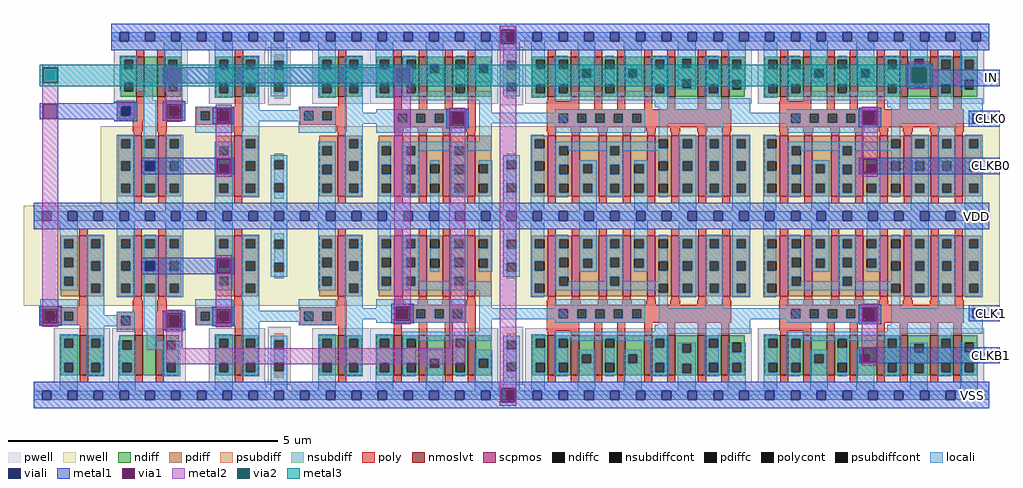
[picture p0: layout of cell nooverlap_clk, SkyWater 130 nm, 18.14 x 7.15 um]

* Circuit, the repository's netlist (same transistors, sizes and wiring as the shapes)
* NGSPICE file created from nooverlap_clk.ext - technology: sky130A

.subckt sky130_fd_sc_hs__nand2_1 A B VGND VNB VPB VPWR Y
X0 a_117_74# B VGND VNB sky130_fd_pr__nfet_01v8_lvt ad=0.0888 pd=0.98 as=0.2109 ps=2.05 w=0.74 l=0.15
X1 VPWR A Y VPB sky130_fd_pr__pfet_01v8 ad=0.3192 pd=2.81 as=0.168 ps=1.42 w=1.12 l=0.15
X2 Y A a_117_74# VNB sky130_fd_pr__nfet_01v8_lvt ad=0.2109 pd=2.05 as=0.0888 ps=0.98 w=0.74 l=0.15
X3 Y B VPWR VPB sky130_fd_pr__pfet_01v8 ad=0.168 pd=1.42 as=0.3192 ps=2.81 w=1.12 l=0.15
.ends

.subckt sky130_fd_sc_hs__inv_1 A VGND VNB VPB VPWR Y
X0 Y A VPWR VPB sky130_fd_pr__pfet_01v8 ad=0.3304 pd=2.83 as=0.3864 ps=2.93 w=1.12 l=0.15
X1 Y A VGND VNB sky130_fd_pr__nfet_01v8_lvt ad=0.2109 pd=2.05 as=0.2627 ps=2.19 w=0.74 l=0.15
.ends

.subckt sky130_fd_sc_hs__inv_4 A VGND VNB VPB VPWR Y
X0 Y A VPWR VPB sky130_fd_pr__pfet_01v8 ad=0.168 pd=1.42 as=0.3304 ps=2.83 w=1.12 l=0.15
X1 Y A VGND VNB sky130_fd_pr__nfet_01v8_lvt ad=0.1184 pd=1.06 as=0.2331 ps=2.11 w=0.74 l=0.15
X2 Y A VGND VNB sky130_fd_pr__nfet_01v8_lvt ad=0.1036 pd=1.02 as=0.1221 ps=1.07 w=0.74 l=0.15
X3 VPWR A Y VPB sky130_fd_pr__pfet_01v8 ad=0.3304 pd=2.83 as=0.168 ps=1.42 w=1.12 l=0.15
X4 VGND A Y VNB sky130_fd_pr__nfet_01v8_lvt ad=0.1221 pd=1.07 as=0.1184 ps=1.06 w=0.74 l=0.15
X5 Y A VPWR VPB sky130_fd_pr__pfet_01v8 ad=0.168 pd=1.42 as=0.168 ps=1.42 w=1.12 l=0.15
X6 VGND A Y VNB sky130_fd_pr__nfet_01v8_lvt ad=0.2109 pd=2.05 as=0.1036 ps=1.02 w=0.74 l=0.15
X7 VPWR A Y VPB sky130_fd_pr__pfet_01v8 ad=0.168 pd=1.42 as=0.168 ps=1.42 w=1.12 l=0.15
.ends

.subckt sky130_fd_sc_hs__inv_8 A VGND VNB VPB VPWR Y
X0 Y A VPWR VPB sky130_fd_pr__pfet_01v8 ad=0.168 pd=1.42 as=0.3304 ps=2.83 w=1.12 l=0.15
X1 VPWR A Y VPB sky130_fd_pr__pfet_01v8 ad=0.196 pd=1.47 as=0.168 ps=1.42 w=1.12 l=0.15
X2 Y A VGND VNB sky130_fd_pr__nfet_01v8_lvt ad=0.1036 pd=1.02 as=0.2109 ps=2.05 w=0.74 l=0.15
X3 Y A VPWR VPB sky130_fd_pr__pfet_01v8 ad=0.168 pd=1.42 as=0.168 ps=1.42 w=1.12 l=0.15
X4 Y A VGND VNB sky130_fd_pr__nfet_01v8_lvt ad=0.1036 pd=1.02 as=0.1295 ps=1.09 w=0.74 l=0.15
X5 VPWR A Y VPB sky130_fd_pr__pfet_01v8 ad=0.168 pd=1.42 as=0.168 ps=1.42 w=1.12 l=0.15
X6 Y A VPWR VPB sky130_fd_pr__pfet_01v8 ad=0.168 pd=1.42 as=0.196 ps=1.47 w=1.12 l=0.15
X7 VGND A Y VNB sky130_fd_pr__nfet_01v8_lvt ad=0.2146 pd=2.06 as=0.1036 ps=1.02 w=0.74 l=0.15
X8 VGND A Y VNB sky130_fd_pr__nfet_01v8_lvt ad=0.1295 pd=1.09 as=0.1036 ps=1.02 w=0.74 l=0.15
X9 VPWR A Y VPB sky130_fd_pr__pfet_01v8 ad=0.196 pd=1.47 as=0.168 ps=1.42 w=1.12 l=0.15
X10 VGND A Y VNB sky130_fd_pr__nfet_01v8_lvt ad=0.1036 pd=1.02 as=0.1036 ps=1.02 w=0.74 l=0.15
X11 Y A VGND VNB sky130_fd_pr__nfet_01v8_lvt ad=0.1036 pd=1.02 as=0.1554 ps=1.16 w=0.74 l=0.15
X12 Y A VGND VNB sky130_fd_pr__nfet_01v8_lvt ad=0.1036 pd=1.02 as=0.1036 ps=1.02 w=0.74 l=0.15
X13 VPWR A Y VPB sky130_fd_pr__pfet_01v8 ad=0.3864 pd=2.93 as=0.168 ps=1.42 w=1.12 l=0.15
X14 Y A VPWR VPB sky130_fd_pr__pfet_01v8 ad=0.168 pd=1.42 as=0.196 ps=1.47 w=1.12 l=0.15
X15 VGND A Y VNB sky130_fd_pr__nfet_01v8_lvt ad=0.1554 pd=1.16 as=0.1036 ps=1.02 w=0.74 l=0.15
.ends

.subckt nooverlap_clk IN CLK0 CLKB0 CLK1 CLKB1 VDD VSS
Xx1 x1/A x3/Y VSS VSS VDD VDD x4/A sky130_fd_sc_hs__nand2_1
Xx3 IN VSS VSS VDD VDD x3/Y sky130_fd_sc_hs__inv_1
Xx4 x4/A VSS VSS VDD VDD x6/A sky130_fd_sc_hs__inv_1
Xx6 x6/A VSS VSS VDD VDD x8/A sky130_fd_sc_hs__inv_1
Xx8 x8/A VSS VSS VDD VDD x8/Y sky130_fd_sc_hs__inv_4
Xsky130_fd_sc_hs__nand2_1_0 IN x8/A VSS VSS VDD VDD sky130_fd_sc_hs__inv_1_0/A sky130_fd_sc_hs__nand2_1
Xsky130_fd_sc_hs__inv_1_0 sky130_fd_sc_hs__inv_1_0/A VSS VSS VDD VDD sky130_fd_sc_hs__inv_1_1/A
+ sky130_fd_sc_hs__inv_1
Xsky130_fd_sc_hs__inv_1_1 sky130_fd_sc_hs__inv_1_1/A VSS VSS VDD VDD x1/A sky130_fd_sc_hs__inv_1
Xsky130_fd_sc_hs__inv_8_0 sky130_fd_sc_hs__inv_8_0/A VSS VSS VDD VDD CLKB0 sky130_fd_sc_hs__inv_8
Xsky130_fd_sc_hs__inv_8_1 CLKB0 VSS VSS VDD VDD CLK0 sky130_fd_sc_hs__inv_8
Xx10 x8/Y VSS VSS VDD VDD CLKB1 sky130_fd_sc_hs__inv_8
Xx12 CLKB1 VSS VSS VDD VDD CLK1 sky130_fd_sc_hs__inv_8
Xsky130_fd_sc_hs__inv_4_0 x1/A VSS VSS VDD VDD sky130_fd_sc_hs__inv_8_0/A sky130_fd_sc_hs__inv_4
.ends

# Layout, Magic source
magic
tech sky130A
magscale 1 2
<< locali >>
rect -351 -3654 -291 -3641
rect -351 -3688 -338 -3654
rect -304 -3688 -291 -3654
rect -351 -3701 -291 -3688
rect -171 -3653 -111 -3640
rect -171 -3687 -158 -3653
rect -124 -3687 -111 -3653
rect -171 -3700 -111 -3687
rect 23 -3670 63 -3667
rect 23 -3704 26 -3670
rect 60 -3704 63 -3670
rect 23 -3707 63 -3704
rect 151 -3707 379 -3667
rect 536 -3717 657 -3677
rect 882 -3681 942 -3668
rect 882 -3715 895 -3681
rect 929 -3715 942 -3681
rect 882 -3728 942 -3715
rect 1009 -3716 1326 -3676
rect 2415 -3677 2475 -3664
rect 1976 -3717 2190 -3677
rect 2415 -3711 2428 -3677
rect 2462 -3711 2475 -3677
rect 2415 -3724 2475 -3711
rect 2824 -3681 2864 -3678
rect 2824 -3715 2827 -3681
rect 2861 -3715 2864 -3681
rect 2824 -3718 2864 -3715
rect -251 -3857 -211 -3854
rect -251 -3891 -248 -3857
rect -214 -3891 -211 -3857
rect -251 -3894 -211 -3891
rect -251 -4229 -211 -4226
rect -251 -4263 -248 -4229
rect -214 -4263 -211 -4229
rect -251 -4266 -211 -4263
rect -631 -4415 -571 -4402
rect -631 -4449 -618 -4415
rect -584 -4449 -571 -4415
rect 13 -4416 73 -4403
rect -631 -4462 -571 -4449
rect -435 -4469 -301 -4429
rect -171 -4431 -111 -4418
rect -171 -4465 -158 -4431
rect -124 -4465 -111 -4431
rect 13 -4450 26 -4416
rect 60 -4450 73 -4416
rect 13 -4463 73 -4450
rect 126 -4453 379 -4413
rect 532 -4443 628 -4403
rect 678 -4406 738 -4393
rect 678 -4440 691 -4406
rect 725 -4440 738 -4406
rect 678 -4453 738 -4440
rect 1009 -4443 1326 -4403
rect 1972 -4443 2190 -4403
rect 2415 -4409 2475 -4396
rect 2415 -4443 2428 -4409
rect 2462 -4443 2475 -4409
rect 2824 -4405 2864 -4402
rect 2824 -4439 2827 -4405
rect 2861 -4439 2864 -4405
rect 2824 -4442 2864 -4439
rect 2415 -4456 2475 -4443
rect -171 -4478 -111 -4465
<< viali >>
rect -338 -3688 -304 -3654
rect -158 -3687 -124 -3653
rect 26 -3704 60 -3670
rect 895 -3715 929 -3681
rect 2428 -3711 2462 -3677
rect 2827 -3715 2861 -3681
rect -248 -3891 -214 -3857
rect -248 -4263 -214 -4229
rect -618 -4449 -584 -4415
rect -158 -4465 -124 -4431
rect 26 -4450 60 -4416
rect 691 -4440 725 -4406
rect 2428 -4443 2462 -4409
rect 2827 -4439 2861 -4405
<< metal1 >>
rect 1060 -3367 1140 -3363
rect 1060 -3419 1074 -3367
rect 1126 -3419 1140 -3367
rect 1060 -3423 1140 -3419
rect -181 -3511 748 -3507
rect -181 -3563 -167 -3511
rect -115 -3563 682 -3511
rect 734 -3563 748 -3511
rect -181 -3567 748 -3563
rect 2578 -3511 2678 -3497
rect 2578 -3563 2602 -3511
rect 2654 -3517 2678 -3511
rect 2654 -3563 2927 -3517
rect 2578 -3577 2927 -3563
rect -363 -3641 -279 -3635
rect -641 -3645 -279 -3641
rect -641 -3697 -627 -3645
rect -575 -3654 -279 -3645
rect -575 -3688 -338 -3654
rect -304 -3688 -279 -3654
rect -575 -3697 -279 -3688
rect -641 -3701 -279 -3697
rect -363 -3707 -279 -3701
rect -183 -3644 -99 -3634
rect -183 -3696 -167 -3644
rect -115 -3696 -99 -3644
rect -183 -3706 -99 -3696
rect 3 -3661 83 -3657
rect 3 -3713 17 -3661
rect 69 -3713 83 -3661
rect 3 -3717 83 -3713
rect 870 -3672 954 -3662
rect 870 -3724 886 -3672
rect 938 -3724 954 -3672
rect 870 -3734 954 -3724
rect 2403 -3668 2487 -3658
rect 2403 -3720 2419 -3668
rect 2471 -3720 2487 -3668
rect 2403 -3730 2487 -3720
rect 2812 -3681 2927 -3668
rect 2812 -3715 2827 -3681
rect 2861 -3715 2927 -3681
rect 2812 -3728 2927 -3715
rect -263 -3848 83 -3844
rect -263 -3857 17 -3848
rect -263 -3891 -248 -3857
rect -214 -3891 17 -3857
rect -263 -3900 17 -3891
rect 69 -3900 83 -3848
rect -263 -3904 83 -3900
rect 2405 -3848 2927 -3844
rect 2405 -3900 2419 -3848
rect 2471 -3900 2927 -3848
rect 2405 -3904 2927 -3900
rect 2791 -4100 2873 -4026
rect -263 -4220 83 -4216
rect -263 -4229 17 -4220
rect -263 -4263 -248 -4229
rect -214 -4263 17 -4229
rect -263 -4272 17 -4263
rect 69 -4272 83 -4220
rect -263 -4276 83 -4272
rect -643 -4406 -559 -4396
rect 666 -4397 750 -4387
rect -643 -4458 -627 -4406
rect -575 -4458 -559 -4406
rect 1 -4407 85 -4397
rect -643 -4468 -559 -4458
rect -183 -4422 -99 -4412
rect -183 -4474 -167 -4422
rect -115 -4474 -99 -4422
rect 1 -4459 17 -4407
rect 69 -4459 85 -4407
rect 666 -4449 682 -4397
rect 734 -4449 750 -4397
rect 666 -4459 750 -4449
rect 2403 -4400 2487 -4390
rect 2403 -4452 2419 -4400
rect 2471 -4452 2487 -4400
rect 2812 -4405 2927 -4392
rect 2812 -4439 2827 -4405
rect 2861 -4439 2927 -4405
rect 2812 -4452 2927 -4439
rect 1 -4469 85 -4459
rect 2403 -4462 2487 -4452
rect -183 -4484 -99 -4474
rect 2405 -4551 2927 -4547
rect 2405 -4603 2419 -4551
rect 2471 -4603 2927 -4551
rect 2405 -4607 2927 -4603
rect 1060 -4700 1140 -4696
rect 1060 -4752 1074 -4700
rect 1126 -4752 1140 -4700
rect 1060 -4756 1140 -4752
rect 2783 -4764 2865 -4690
<< via1 >>
rect 1074 -3419 1126 -3367
rect -167 -3563 -115 -3511
rect 682 -3563 734 -3511
rect 2602 -3563 2654 -3511
rect -627 -3697 -575 -3645
rect -167 -3653 -115 -3644
rect -167 -3687 -158 -3653
rect -158 -3687 -124 -3653
rect -124 -3687 -115 -3653
rect -167 -3696 -115 -3687
rect 17 -3670 69 -3661
rect 17 -3704 26 -3670
rect 26 -3704 60 -3670
rect 60 -3704 69 -3670
rect 17 -3713 69 -3704
rect 886 -3681 938 -3672
rect 886 -3715 895 -3681
rect 895 -3715 929 -3681
rect 929 -3715 938 -3681
rect 886 -3724 938 -3715
rect 2419 -3677 2471 -3668
rect 2419 -3711 2428 -3677
rect 2428 -3711 2462 -3677
rect 2462 -3711 2471 -3677
rect 2419 -3720 2471 -3711
rect 17 -3900 69 -3848
rect 2419 -3900 2471 -3848
rect 17 -4272 69 -4220
rect -627 -4415 -575 -4406
rect -627 -4449 -618 -4415
rect -618 -4449 -584 -4415
rect -584 -4449 -575 -4415
rect -627 -4458 -575 -4449
rect -167 -4431 -115 -4422
rect -167 -4465 -158 -4431
rect -158 -4465 -124 -4431
rect -124 -4465 -115 -4431
rect -167 -4474 -115 -4465
rect 17 -4416 69 -4407
rect 17 -4450 26 -4416
rect 26 -4450 60 -4416
rect 60 -4450 69 -4416
rect 17 -4459 69 -4450
rect 682 -4406 734 -4397
rect 682 -4440 691 -4406
rect 691 -4440 725 -4406
rect 725 -4440 734 -4406
rect 682 -4449 734 -4440
rect 2419 -4409 2471 -4400
rect 2419 -4443 2428 -4409
rect 2428 -4443 2462 -4409
rect 2462 -4443 2471 -4409
rect 2419 -4452 2471 -4443
rect 2419 -4603 2471 -4551
rect 1074 -4752 1126 -4700
<< metal2 >>
rect 1070 -3367 1130 -3353
rect 1070 -3419 1074 -3367
rect 1126 -3419 1130 -3367
rect -631 -3509 -571 -3497
rect -631 -3565 -629 -3509
rect -573 -3565 -571 -3509
rect -631 -3645 -571 -3565
rect -631 -3697 -627 -3645
rect -575 -3697 -571 -3645
rect -631 -4406 -571 -3697
rect -171 -3511 -111 -3497
rect -171 -3563 -167 -3511
rect -115 -3563 -111 -3511
rect -171 -3644 -111 -3563
rect -171 -3696 -167 -3644
rect -115 -3696 -111 -3644
rect 678 -3511 738 -3497
rect 678 -3563 682 -3511
rect 734 -3563 738 -3511
rect -171 -3710 -111 -3696
rect 13 -3661 73 -3647
rect 13 -3713 17 -3661
rect 69 -3713 73 -3661
rect 13 -3848 73 -3713
rect 13 -3900 17 -3848
rect 69 -3900 73 -3848
rect 13 -3914 73 -3900
rect -631 -4458 -627 -4406
rect -575 -4458 -571 -4406
rect 13 -4220 73 -4206
rect 13 -4272 17 -4220
rect 69 -4272 73 -4220
rect 13 -4407 73 -4272
rect -631 -4472 -571 -4458
rect -171 -4422 -111 -4408
rect -171 -4474 -167 -4422
rect -115 -4474 -111 -4422
rect 13 -4459 17 -4407
rect 69 -4459 73 -4407
rect 13 -4473 73 -4459
rect 678 -4397 738 -3563
rect 678 -4449 682 -4397
rect 734 -4449 738 -4397
rect 678 -4463 738 -4449
rect 882 -3672 942 -3658
rect 882 -3724 886 -3672
rect 938 -3724 942 -3672
rect -171 -4551 -111 -4474
rect 882 -4551 942 -3724
rect -171 -4611 942 -4551
rect 1070 -4700 1130 -3419
rect 2588 -3509 2668 -3487
rect 2588 -3565 2600 -3509
rect 2656 -3565 2668 -3509
rect 2588 -3587 2668 -3565
rect 2415 -3668 2475 -3654
rect 2415 -3720 2419 -3668
rect 2471 -3720 2475 -3668
rect 2415 -3848 2475 -3720
rect 2415 -3900 2419 -3848
rect 2471 -3900 2475 -3848
rect 2415 -3914 2475 -3900
rect 2415 -4400 2475 -4386
rect 2415 -4452 2419 -4400
rect 2471 -4452 2475 -4400
rect 2415 -4551 2475 -4452
rect 2415 -4603 2419 -4551
rect 2471 -4603 2475 -4551
rect 2415 -4617 2475 -4603
rect 1070 -4752 1074 -4700
rect 1126 -4752 1130 -4700
rect 1070 -4766 1130 -4752
<< via2 >>
rect -629 -3565 -573 -3509
rect 2600 -3511 2656 -3509
rect 2600 -3563 2602 -3511
rect 2602 -3563 2654 -3511
rect 2654 -3563 2656 -3511
rect 2600 -3565 2656 -3563
<< metal3 >>
rect 2578 -3497 2678 -3492
rect -641 -3509 2678 -3497
rect -641 -3565 -629 -3509
rect -573 -3565 2600 -3509
rect 2656 -3565 2678 -3509
rect -641 -3577 2678 -3565
rect 2578 -3582 2678 -3577
use sky130_fd_sc_hs__inv_1  sky130_fd_sc_hs__inv_1_0
transform 1 0 -87 0 -1 -3394
box -38 -49 326 715
use sky130_fd_sc_hs__inv_1  sky130_fd_sc_hs__inv_1_1
transform 1 0 297 0 -1 -3394
box -38 -49 326 715
use sky130_fd_sc_hs__inv_4  sky130_fd_sc_hs__inv_4_0
transform 1 0 585 0 -1 -3394
box -38 -49 518 715
use sky130_fd_sc_hs__inv_8  sky130_fd_sc_hs__inv_8_0
transform 1 0 1161 0 -1 -3394
box -38 -49 902 715
use sky130_fd_sc_hs__inv_8  sky130_fd_sc_hs__inv_8_1
transform 1 0 2025 0 -1 -3394
box -38 -49 902 715
use sky130_fd_sc_hs__nand2_1  sky130_fd_sc_hs__nand2_1_0
transform -1 0 -87 0 -1 -3394
box -38 -49 326 715
use sky130_fd_sc_hs__tapvpwrvgnd_1  sky130_fd_sc_hs__tapvpwrvgnd_1_0
transform 1 0 201 0 1 -4726
box -38 -49 134 715
use sky130_fd_sc_hs__tapvpwrvgnd_1  sky130_fd_sc_hs__tapvpwrvgnd_1_1
transform 1 0 1065 0 1 -4726
box -38 -49 134 715
use sky130_fd_sc_hs__tapvpwrvgnd_1  sky130_fd_sc_hs__tapvpwrvgnd_1_2
transform 1 0 201 0 -1 -3394
box -38 -49 134 715
use sky130_fd_sc_hs__tapvpwrvgnd_1  sky130_fd_sc_hs__tapvpwrvgnd_1_3
transform 1 0 1065 0 -1 -3394
box -38 -49 134 715
use sky130_fd_sc_hs__nand2_1  x1
transform 1 0 -375 0 1 -4726
box -38 -49 326 715
use sky130_fd_sc_hs__inv_1  x3
transform 1 0 -663 0 1 -4726
box -38 -49 326 715
use sky130_fd_sc_hs__inv_1  x4
transform 1 0 -87 0 1 -4726
box -38 -49 326 715
use sky130_fd_sc_hs__inv_1  x6
transform 1 0 297 0 1 -4726
box -38 -49 326 715
use sky130_fd_sc_hs__inv_4  x8
transform 1 0 585 0 1 -4726
box -38 -49 518 715
use sky130_fd_sc_hs__inv_8  x10
transform 1 0 1161 0 1 -4726
box -38 -49 902 715
use sky130_fd_sc_hs__inv_8  x12
transform 1 0 2025 0 1 -4726
box -38 -49 902 715
<< labels >>
flabel metal1 s 2878 -3567 2918 -3527 0 FreeSans 500 0 0 0 IN
port 1 nsew
flabel metal1 s 2878 -3717 2918 -3677 0 FreeSans 500 0 0 0 CLK0
port 2 nsew
flabel metal1 s 2876 -3894 2916 -3854 0 FreeSans 500 0 0 0 CLKB0
port 3 nsew
flabel metal1 s 2876 -4443 2916 -4403 0 FreeSans 500 0 0 0 CLK1
port 4 nsew
flabel metal1 s 2877 -4597 2917 -4557 0 FreeSans 500 0 0 0 CLKB1
port 5 nsew
flabel metal1 s 2820 -4082 2860 -4042 0 FreeSans 500 0 0 0 VDD
port 6 nsew
flabel metal1 s 2807 -4748 2847 -4708 0 FreeSans 500 0 0 0 VSS
port 7 nsew
<< end >>

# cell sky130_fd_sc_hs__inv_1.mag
magic
tech sky130A
magscale 1 2
<< nwell >>
rect -38 332 326 704
<< pwell >>
rect 75 49 285 248
rect 0 0 288 49
<< scpmos >>
rect 170 368 200 592
<< nmoslvt >>
rect 172 74 202 222
<< ndiff >>
rect 101 210 172 222
rect 101 176 113 210
rect 147 176 172 210
rect 101 120 172 176
rect 101 86 113 120
rect 147 86 172 120
rect 101 74 172 86
rect 202 210 259 222
rect 202 176 213 210
rect 247 176 259 210
rect 202 120 259 176
rect 202 86 213 120
rect 247 86 259 120
rect 202 74 259 86
<< pdiff >>
rect 101 580 170 592
rect 101 546 113 580
rect 147 546 170 580
rect 101 510 170 546
rect 101 476 113 510
rect 147 476 170 510
rect 101 440 170 476
rect 101 406 113 440
rect 147 406 170 440
rect 101 368 170 406
rect 200 580 259 592
rect 200 546 213 580
rect 247 546 259 580
rect 200 497 259 546
rect 200 463 213 497
rect 247 463 259 497
rect 200 414 259 463
rect 200 380 213 414
rect 247 380 259 414
rect 200 368 259 380
<< ndiffc >>
rect 113 176 147 210
rect 113 86 147 120
rect 213 176 247 210
rect 213 86 247 120
<< pdiffc >>
rect 113 546 147 580
rect 113 476 147 510
rect 113 406 147 440
rect 213 546 247 580
rect 213 463 247 497
rect 213 380 247 414
<< poly >>
rect 170 592 200 618
rect 170 353 200 368
rect 167 326 203 353
rect 29 310 203 326
rect 29 276 45 310
rect 79 276 113 310
rect 147 276 203 310
rect 29 260 203 276
rect 172 222 202 260
rect 172 48 202 74
<< polycont >>
rect 45 276 79 310
rect 113 276 147 310
<< locali >>
rect 0 649 31 683
rect 65 649 127 683
rect 161 649 223 683
rect 257 649 288 683
rect 97 580 163 649
rect 97 546 113 580
rect 147 546 163 580
rect 97 510 163 546
rect 97 476 113 510
rect 147 476 163 510
rect 97 440 163 476
rect 97 406 113 440
rect 147 406 163 440
rect 97 390 163 406
rect 197 580 263 596
rect 197 546 213 580
rect 247 546 263 580
rect 197 497 263 546
rect 197 463 213 497
rect 247 463 263 497
rect 197 414 263 463
rect 197 380 213 414
rect 247 380 263 414
rect 25 310 163 356
rect 25 276 45 310
rect 79 276 113 310
rect 147 276 163 310
rect 25 260 163 276
rect 97 210 163 226
rect 97 176 113 210
rect 147 176 163 210
rect 97 120 163 176
rect 97 86 113 120
rect 147 86 163 120
rect 97 17 163 86
rect 197 210 263 380
rect 197 176 213 210
rect 247 176 263 210
rect 197 120 263 176
rect 197 86 213 120
rect 247 86 263 120
rect 197 70 263 86
rect 0 -17 31 17
rect 65 -17 127 17
rect 161 -17 223 17
rect 257 -17 288 17
<< viali >>
rect 31 649 65 683
rect 127 649 161 683
rect 223 649 257 683
rect 31 -17 65 17
rect 127 -17 161 17
rect 223 -17 257 17
<< metal1 >>
rect 0 683 288 715
rect 0 649 31 683
rect 65 649 127 683
rect 161 649 223 683
rect 257 649 288 683
rect 0 617 288 649
rect 0 17 288 49
rect 0 -17 31 17
rect 65 -17 127 17
rect 161 -17 223 17
rect 257 -17 288 17
rect 0 -49 288 -17
<< labels >>
rlabel comment s 0 0 0 0 4 inv_1
flabel pwell s 0 0 288 49 0 FreeSans 200 0 0 0 VNB
port 1 nsew
flabel nwell s 0 617 288 666 0 FreeSans 200 0 0 0 VPB
port 2 nsew
flabel metal1 s 0 617 288 666 0 FreeSans 340 0 0 0 VPWR
port 3 nsew
flabel metal1 s 0 0 288 49 0 FreeSans 340 0 0 0 VGND
port 4 nsew
flabel locali s 223 94 257 128 0 FreeSans 340 0 0 0 Y
port 6 nsew
flabel locali s 223 168 257 202 0 FreeSans 340 0 0 0 Y
port 6 nsew
flabel locali s 223 242 257 276 0 FreeSans 340 0 0 0 Y
port 6 nsew
flabel locali s 223 316 257 350 0 FreeSans 340 0 0 0 Y
port 6 nsew
flabel locali s 223 390 257 424 0 FreeSans 340 0 0 0 Y
port 6 nsew
flabel locali s 223 464 257 498 0 FreeSans 340 0 0 0 Y
port 6 nsew
flabel locali s 223 538 257 572 0 FreeSans 340 0 0 0 Y
port 6 nsew
flabel locali s 31 316 65 350 0 FreeSans 340 0 0 0 A
port 7 nsew
<< properties >>
string FIXED_BBOX 0 0 288 666
<< end >>

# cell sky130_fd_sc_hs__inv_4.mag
magic
tech sky130A
magscale 1 2
<< nwell >>
rect -38 332 518 704
<< pwell >>
rect 1 49 479 248
rect 0 0 480 49
<< scpmos >>
rect 93 368 123 592
rect 183 368 213 592
rect 273 368 303 592
rect 363 368 393 592
<< nmoslvt >>
rect 90 74 120 222
rect 184 74 214 222
rect 280 74 310 222
rect 366 74 396 222
<< ndiff >>
rect 27 210 90 222
rect 27 176 39 210
rect 73 176 90 210
rect 27 120 90 176
rect 27 86 39 120
rect 73 86 90 120
rect 27 74 90 86
rect 120 210 184 222
rect 120 176 139 210
rect 173 176 184 210
rect 120 120 184 176
rect 120 86 139 120
rect 173 86 184 120
rect 120 74 184 86
rect 214 136 280 222
rect 214 102 225 136
rect 259 102 280 136
rect 214 74 280 102
rect 310 210 366 222
rect 310 176 321 210
rect 355 176 366 210
rect 310 120 366 176
rect 310 86 321 120
rect 355 86 366 120
rect 310 74 366 86
rect 396 136 453 222
rect 396 102 407 136
rect 441 102 453 136
rect 396 74 453 102
<< pdiff >>
rect 34 580 93 592
rect 34 546 46 580
rect 80 546 93 580
rect 34 510 93 546
rect 34 476 46 510
rect 80 476 93 510
rect 34 440 93 476
rect 34 406 46 440
rect 80 406 93 440
rect 34 368 93 406
rect 123 580 183 592
rect 123 546 136 580
rect 170 546 183 580
rect 123 510 183 546
rect 123 476 136 510
rect 170 476 183 510
rect 123 440 183 476
rect 123 406 136 440
rect 170 406 183 440
rect 123 368 183 406
rect 213 580 273 592
rect 213 546 226 580
rect 260 546 273 580
rect 213 508 273 546
rect 213 474 226 508
rect 260 474 273 508
rect 213 368 273 474
rect 303 580 363 592
rect 303 546 316 580
rect 350 546 363 580
rect 303 510 363 546
rect 303 476 316 510
rect 350 476 363 510
rect 303 440 363 476
rect 303 406 316 440
rect 350 406 363 440
rect 303 368 363 406
rect 393 580 452 592
rect 393 546 406 580
rect 440 546 452 580
rect 393 508 452 546
rect 393 474 406 508
rect 440 474 452 508
rect 393 368 452 474
<< ndiffc >>
rect 39 176 73 210
rect 39 86 73 120
rect 139 176 173 210
rect 139 86 173 120
rect 225 102 259 136
rect 321 176 355 210
rect 321 86 355 120
rect 407 102 441 136
<< pdiffc >>
rect 46 546 80 580
rect 46 476 80 510
rect 46 406 80 440
rect 136 546 170 580
rect 136 476 170 510
rect 136 406 170 440
rect 226 546 260 580
rect 226 474 260 508
rect 316 546 350 580
rect 316 476 350 510
rect 316 406 350 440
rect 406 546 440 580
rect 406 474 440 508
<< poly >>
rect 93 592 123 618
rect 183 592 213 618
rect 273 592 303 618
rect 363 592 393 618
rect 93 353 123 368
rect 183 353 213 368
rect 273 353 303 368
rect 363 353 393 368
rect 90 336 126 353
rect 180 336 216 353
rect 270 336 306 353
rect 360 336 396 353
rect 90 320 396 336
rect 90 286 106 320
rect 140 286 174 320
rect 208 286 242 320
rect 276 286 310 320
rect 344 286 396 320
rect 90 270 396 286
rect 90 222 120 270
rect 184 222 214 270
rect 280 222 310 270
rect 366 222 396 270
rect 90 48 120 74
rect 184 48 214 74
rect 280 48 310 74
rect 366 48 396 74
<< polycont >>
rect 106 286 140 320
rect 174 286 208 320
rect 242 286 276 320
rect 310 286 344 320
<< locali >>
rect 0 649 31 683
rect 65 649 127 683
rect 161 649 223 683
rect 257 649 319 683
rect 353 649 415 683
rect 449 649 480 683
rect 30 580 80 649
rect 30 546 46 580
rect 30 510 80 546
rect 30 476 46 510
rect 30 440 80 476
rect 30 406 46 440
rect 30 390 80 406
rect 120 580 186 596
rect 120 546 136 580
rect 170 546 186 580
rect 120 510 186 546
rect 120 476 136 510
rect 170 476 186 510
rect 120 440 186 476
rect 226 580 260 649
rect 226 508 260 546
rect 226 458 260 474
rect 300 580 366 596
rect 300 546 316 580
rect 350 546 366 580
rect 300 510 366 546
rect 300 476 316 510
rect 350 476 366 510
rect 120 406 136 440
rect 170 424 186 440
rect 300 440 366 476
rect 406 580 456 649
rect 440 546 456 580
rect 406 508 456 546
rect 440 474 456 508
rect 406 458 456 474
rect 300 424 316 440
rect 170 406 316 424
rect 350 424 366 440
rect 350 406 455 424
rect 120 390 455 406
rect 25 320 360 356
rect 25 286 106 320
rect 140 286 174 320
rect 208 286 242 320
rect 276 286 310 320
rect 344 286 360 320
rect 25 270 360 286
rect 409 236 455 390
rect 23 210 89 226
rect 23 176 39 210
rect 73 176 89 210
rect 23 120 89 176
rect 23 86 39 120
rect 73 86 89 120
rect 23 17 89 86
rect 123 210 455 236
rect 123 176 139 210
rect 173 202 321 210
rect 123 120 173 176
rect 355 202 455 210
rect 123 86 139 120
rect 123 70 173 86
rect 209 136 275 168
rect 209 102 225 136
rect 259 102 275 136
rect 209 17 275 102
rect 321 120 355 176
rect 321 70 355 86
rect 391 136 457 168
rect 391 102 407 136
rect 441 102 457 136
rect 391 17 457 102
rect 0 -17 31 17
rect 65 -17 127 17
rect 161 -17 223 17
rect 257 -17 319 17
rect 353 -17 415 17
rect 449 -17 480 17
<< viali >>
rect 31 649 65 683
rect 127 649 161 683
rect 223 649 257 683
rect 319 649 353 683
rect 415 649 449 683
rect 31 -17 65 17
rect 127 -17 161 17
rect 223 -17 257 17
rect 319 -17 353 17
rect 415 -17 449 17
<< metal1 >>
rect 0 683 480 715
rect 0 649 31 683
rect 65 649 127 683
rect 161 649 223 683
rect 257 649 319 683
rect 353 649 415 683
rect 449 649 480 683
rect 0 617 480 649
rect 0 17 480 49
rect 0 -17 31 17
rect 65 -17 127 17
rect 161 -17 223 17
rect 257 -17 319 17
rect 353 -17 415 17
rect 449 -17 480 17
rect 0 -49 480 -17
<< labels >>
rlabel comment s 0 0 0 0 4 inv_4
flabel pwell s 0 0 480 49 0 FreeSans 200 0 0 0 VNB
port 1 nsew
flabel nwell s 0 617 480 666 0 FreeSans 200 0 0 0 VPB
port 2 nsew
flabel metal1 s 0 617 480 666 0 FreeSans 340 0 0 0 VPWR
port 3 nsew
flabel metal1 s 0 0 480 49 0 FreeSans 340 0 0 0 VGND
port 4 nsew
flabel locali s 415 242 449 276 0 FreeSans 340 0 0 0 Y
port 6 nsew
flabel locali s 31 316 65 350 0 FreeSans 340 0 0 0 A
port 7 nsew
flabel locali s 127 316 161 350 0 FreeSans 340 0 0 0 A
port 7 nsew
flabel locali s 223 316 257 350 0 FreeSans 340 0 0 0 A
port 7 nsew
flabel locali s 319 316 353 350 0 FreeSans 340 0 0 0 A
port 7 nsew
<< properties >>
string FIXED_BBOX 0 0 480 666
<< end >>

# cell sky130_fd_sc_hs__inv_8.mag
magic
tech sky130A
magscale 1 2
<< nwell >>
rect -38 332 902 704
<< pwell >>
rect 4 49 845 248
rect 0 0 864 49
<< scpmos >>
rect 86 368 116 592
rect 176 368 206 592
rect 276 368 306 592
rect 366 368 396 592
rect 456 368 486 592
rect 546 368 576 592
rect 646 368 676 592
rect 736 368 766 592
<< nmoslvt >>
rect 87 74 117 222
rect 173 74 203 222
rect 259 74 289 222
rect 345 74 375 222
rect 445 74 475 222
rect 531 74 561 222
rect 645 74 675 222
rect 731 74 761 222
<< ndiff >>
rect 30 210 87 222
rect 30 176 42 210
rect 76 176 87 210
rect 30 120 87 176
rect 30 86 42 120
rect 76 86 87 120
rect 30 74 87 86
rect 117 210 173 222
rect 117 176 128 210
rect 162 176 173 210
rect 117 120 173 176
rect 117 86 128 120
rect 162 86 173 120
rect 117 74 173 86
rect 203 152 259 222
rect 203 118 214 152
rect 248 118 259 152
rect 203 74 259 118
rect 289 210 345 222
rect 289 176 300 210
rect 334 176 345 210
rect 289 120 345 176
rect 289 86 300 120
rect 334 86 345 120
rect 289 74 345 86
rect 375 152 445 222
rect 375 118 386 152
rect 420 118 445 152
rect 375 74 445 118
rect 475 210 531 222
rect 475 176 486 210
rect 520 176 531 210
rect 475 120 531 176
rect 475 86 486 120
rect 520 86 531 120
rect 475 74 531 86
rect 561 192 645 222
rect 561 158 586 192
rect 620 158 645 192
rect 561 116 645 158
rect 561 82 586 116
rect 620 82 645 116
rect 561 74 645 82
rect 675 210 731 222
rect 675 176 686 210
rect 720 176 731 210
rect 675 120 731 176
rect 675 86 686 120
rect 720 86 731 120
rect 675 74 731 86
rect 761 194 819 222
rect 761 160 772 194
rect 806 160 819 194
rect 761 120 819 160
rect 761 86 772 120
rect 806 86 819 120
rect 761 74 819 86
<< pdiff >>
rect 27 580 86 592
rect 27 546 39 580
rect 73 546 86 580
rect 27 497 86 546
rect 27 463 39 497
rect 73 463 86 497
rect 27 414 86 463
rect 27 380 39 414
rect 73 380 86 414
rect 27 368 86 380
rect 116 580 176 592
rect 116 546 129 580
rect 163 546 176 580
rect 116 510 176 546
rect 116 476 129 510
rect 163 476 176 510
rect 116 440 176 476
rect 116 406 129 440
rect 163 406 176 440
rect 116 368 176 406
rect 206 580 276 592
rect 206 546 219 580
rect 253 546 276 580
rect 206 508 276 546
rect 206 474 219 508
rect 253 474 276 508
rect 206 368 276 474
rect 306 580 366 592
rect 306 546 319 580
rect 353 546 366 580
rect 306 510 366 546
rect 306 476 319 510
rect 353 476 366 510
rect 306 440 366 476
rect 306 406 319 440
rect 353 406 366 440
rect 306 368 366 406
rect 396 580 456 592
rect 396 546 409 580
rect 443 546 456 580
rect 396 508 456 546
rect 396 474 409 508
rect 443 474 456 508
rect 396 368 456 474
rect 486 580 546 592
rect 486 546 499 580
rect 533 546 546 580
rect 486 497 546 546
rect 486 463 499 497
rect 533 463 546 497
rect 486 414 546 463
rect 486 380 499 414
rect 533 380 546 414
rect 486 368 546 380
rect 576 580 646 592
rect 576 546 589 580
rect 623 546 646 580
rect 576 497 646 546
rect 576 463 589 497
rect 623 463 646 497
rect 576 414 646 463
rect 576 380 589 414
rect 623 380 646 414
rect 576 368 646 380
rect 676 580 736 592
rect 676 546 689 580
rect 723 546 736 580
rect 676 497 736 546
rect 676 463 689 497
rect 723 463 736 497
rect 676 414 736 463
rect 676 380 689 414
rect 723 380 736 414
rect 676 368 736 380
rect 766 580 835 592
rect 766 546 789 580
rect 823 546 835 580
rect 766 497 835 546
rect 766 463 789 497
rect 823 463 835 497
rect 766 414 835 463
rect 766 380 789 414
rect 823 380 835 414
rect 766 368 835 380
<< ndiffc >>
rect 42 176 76 210
rect 42 86 76 120
rect 128 176 162 210
rect 128 86 162 120
rect 214 118 248 152
rect 300 176 334 210
rect 300 86 334 120
rect 386 118 420 152
rect 486 176 520 210
rect 486 86 520 120
rect 586 158 620 192
rect 586 82 620 116
rect 686 176 720 210
rect 686 86 720 120
rect 772 160 806 194
rect 772 86 806 120
<< pdiffc >>
rect 39 546 73 580
rect 39 463 73 497
rect 39 380 73 414
rect 129 546 163 580
rect 129 476 163 510
rect 129 406 163 440
rect 219 546 253 580
rect 219 474 253 508
rect 319 546 353 580
rect 319 476 353 510
rect 319 406 353 440
rect 409 546 443 580
rect 409 474 443 508
rect 499 546 533 580
rect 499 463 533 497
rect 499 380 533 414
rect 589 546 623 580
rect 589 463 623 497
rect 589 380 623 414
rect 689 546 723 580
rect 689 463 723 497
rect 689 380 723 414
rect 789 546 823 580
rect 789 463 823 497
rect 789 380 823 414
<< poly >>
rect 86 592 116 618
rect 176 592 206 618
rect 276 592 306 618
rect 366 592 396 618
rect 456 592 486 618
rect 546 592 576 618
rect 646 592 676 618
rect 736 592 766 618
rect 86 353 116 368
rect 176 353 206 368
rect 276 353 306 368
rect 366 353 396 368
rect 456 353 486 368
rect 546 353 576 368
rect 646 353 676 368
rect 736 353 766 368
rect 83 336 119 353
rect 173 336 209 353
rect 273 336 309 353
rect 363 336 399 353
rect 453 336 489 353
rect 543 336 579 353
rect 643 336 679 353
rect 733 336 769 353
rect 83 320 769 336
rect 83 286 128 320
rect 162 286 196 320
rect 230 286 264 320
rect 298 286 332 320
rect 366 286 400 320
rect 434 286 769 320
rect 83 270 769 286
rect 83 240 203 270
rect 87 222 117 240
rect 173 222 203 240
rect 259 222 289 270
rect 345 222 375 270
rect 445 222 475 270
rect 531 222 561 270
rect 645 222 675 270
rect 731 222 761 270
rect 87 48 117 74
rect 173 48 203 74
rect 259 48 289 74
rect 345 48 375 74
rect 445 48 475 74
rect 531 48 561 74
rect 645 48 675 74
rect 731 48 761 74
<< polycont >>
rect 128 286 162 320
rect 196 286 230 320
rect 264 286 298 320
rect 332 286 366 320
rect 400 286 434 320
<< locali >>
rect 0 649 31 683
rect 65 649 127 683
rect 161 649 223 683
rect 257 649 319 683
rect 353 649 415 683
rect 449 649 511 683
rect 545 649 607 683
rect 641 649 703 683
rect 737 649 799 683
rect 833 649 864 683
rect 23 580 73 649
rect 23 546 39 580
rect 23 497 73 546
rect 23 463 39 497
rect 23 414 73 463
rect 23 380 39 414
rect 113 580 163 596
rect 113 546 129 580
rect 113 510 163 546
rect 113 476 129 510
rect 113 440 163 476
rect 203 580 269 649
rect 203 546 219 580
rect 253 546 269 580
rect 203 508 269 546
rect 203 474 219 508
rect 253 474 269 508
rect 203 458 269 474
rect 303 580 369 596
rect 303 546 319 580
rect 353 546 369 580
rect 303 510 369 546
rect 303 476 319 510
rect 353 476 369 510
rect 113 406 129 440
rect 303 440 369 476
rect 409 580 459 649
rect 443 546 459 580
rect 409 508 459 546
rect 443 474 459 508
rect 409 458 459 474
rect 499 580 533 596
rect 499 497 533 546
rect 303 424 319 440
rect 163 406 319 424
rect 353 424 369 440
rect 499 424 533 463
rect 353 414 533 424
rect 353 406 499 414
rect 113 390 499 406
rect 23 364 73 380
rect 112 320 450 356
rect 112 286 128 320
rect 162 286 196 320
rect 230 286 264 320
rect 298 286 332 320
rect 366 286 400 320
rect 434 286 450 320
rect 112 270 450 286
rect 499 324 533 380
rect 573 580 639 649
rect 573 546 589 580
rect 623 546 639 580
rect 573 497 639 546
rect 573 463 589 497
rect 623 463 639 497
rect 573 414 639 463
rect 573 380 589 414
rect 623 380 639 414
rect 573 364 639 380
rect 673 580 739 596
rect 673 546 689 580
rect 723 546 739 580
rect 673 497 739 546
rect 673 463 689 497
rect 723 463 739 497
rect 673 414 739 463
rect 673 380 689 414
rect 723 380 739 414
rect 673 324 739 380
rect 773 580 839 649
rect 773 546 789 580
rect 823 546 839 580
rect 773 497 839 546
rect 773 463 789 497
rect 823 463 839 497
rect 773 414 839 463
rect 773 380 789 414
rect 823 380 839 414
rect 773 364 839 380
rect 499 262 839 324
rect 484 236 839 262
rect 112 228 839 236
rect 26 210 76 226
rect 26 176 42 210
rect 26 120 76 176
rect 26 86 42 120
rect 26 17 76 86
rect 112 210 536 228
rect 112 176 128 210
rect 162 202 300 210
rect 112 120 162 176
rect 334 202 486 210
rect 112 86 128 120
rect 112 70 162 86
rect 198 152 264 168
rect 198 118 214 152
rect 248 118 264 152
rect 198 17 264 118
rect 300 120 334 176
rect 470 176 486 202
rect 520 176 536 210
rect 670 210 722 228
rect 300 70 334 86
rect 370 152 436 168
rect 370 118 386 152
rect 420 118 436 152
rect 370 17 436 118
rect 470 120 536 176
rect 470 86 486 120
rect 520 86 536 120
rect 470 70 536 86
rect 570 192 636 194
rect 570 158 586 192
rect 620 158 636 192
rect 570 116 636 158
rect 570 82 586 116
rect 620 82 636 116
rect 570 17 636 82
rect 670 176 686 210
rect 720 176 722 210
rect 670 120 722 176
rect 670 86 686 120
rect 720 86 722 120
rect 670 70 722 86
rect 756 160 772 194
rect 806 160 822 194
rect 756 120 822 160
rect 756 86 772 120
rect 806 86 822 120
rect 756 17 822 86
rect 0 -17 31 17
rect 65 -17 127 17
rect 161 -17 223 17
rect 257 -17 319 17
rect 353 -17 415 17
rect 449 -17 511 17
rect 545 -17 607 17
rect 641 -17 703 17
rect 737 -17 799 17
rect 833 -17 864 17
<< viali >>
rect 31 649 65 683
rect 127 649 161 683
rect 223 649 257 683
rect 319 649 353 683
rect 415 649 449 683
rect 511 649 545 683
rect 607 649 641 683
rect 703 649 737 683
rect 799 649 833 683
rect 31 -17 65 17
rect 127 -17 161 17
rect 223 -17 257 17
rect 319 -17 353 17
rect 415 -17 449 17
rect 511 -17 545 17
rect 607 -17 641 17
rect 703 -17 737 17
rect 799 -17 833 17
<< metal1 >>
rect 0 683 864 715
rect 0 649 31 683
rect 65 649 127 683
rect 161 649 223 683
rect 257 649 319 683
rect 353 649 415 683
rect 449 649 511 683
rect 545 649 607 683
rect 641 649 703 683
rect 737 649 799 683
rect 833 649 864 683
rect 0 617 864 649
rect 0 17 864 49
rect 0 -17 31 17
rect 65 -17 127 17
rect 161 -17 223 17
rect 257 -17 319 17
rect 353 -17 415 17
rect 449 -17 511 17
rect 545 -17 607 17
rect 641 -17 703 17
rect 737 -17 799 17
rect 833 -17 864 17
rect 0 -49 864 -17
<< labels >>
rlabel comment s 0 0 0 0 4 inv_8
flabel pwell s 0 0 864 49 0 FreeSans 200 0 0 0 VNB
port 1 nsew
flabel nwell s 0 617 864 666 0 FreeSans 200 0 0 0 VPB
port 2 nsew
flabel metal1 s 0 617 864 666 0 FreeSans 340 0 0 0 VPWR
port 3 nsew
flabel metal1 s 0 0 864 49 0 FreeSans 340 0 0 0 VGND
port 4 nsew
flabel locali s 127 316 161 350 0 FreeSans 340 0 0 0 A
port 6 nsew
flabel locali s 223 316 257 350 0 FreeSans 340 0 0 0 A
port 6 nsew
flabel locali s 319 316 353 350 0 FreeSans 340 0 0 0 A
port 6 nsew
flabel locali s 799 242 833 276 0 FreeSans 340 0 0 0 Y
port 7 nsew
<< properties >>
string FIXED_BBOX 0 0 864 666
<< end >>

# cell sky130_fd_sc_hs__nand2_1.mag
magic
tech sky130A
magscale 1 2
<< nwell >>
rect -38 332 326 704
<< pwell >>
rect 4 49 278 248
rect 0 0 288 49
<< scpmos >>
rect 84 368 114 592
rect 174 368 204 592
<< nmoslvt >>
rect 87 74 117 222
rect 165 74 195 222
<< ndiff >>
rect 30 202 87 222
rect 30 168 42 202
rect 76 168 87 202
rect 30 120 87 168
rect 30 86 42 120
rect 76 86 87 120
rect 30 74 87 86
rect 117 74 165 222
rect 195 202 252 222
rect 195 168 206 202
rect 240 168 252 202
rect 195 120 252 168
rect 195 86 206 120
rect 240 86 252 120
rect 195 74 252 86
<< pdiff >>
rect 27 580 84 592
rect 27 546 37 580
rect 71 546 84 580
rect 27 497 84 546
rect 27 463 37 497
rect 71 463 84 497
rect 27 414 84 463
rect 27 380 37 414
rect 71 380 84 414
rect 27 368 84 380
rect 114 580 174 592
rect 114 546 127 580
rect 161 546 174 580
rect 114 497 174 546
rect 114 463 127 497
rect 161 463 174 497
rect 114 414 174 463
rect 114 380 127 414
rect 161 380 174 414
rect 114 368 174 380
rect 204 580 261 592
rect 204 546 217 580
rect 251 546 261 580
rect 204 497 261 546
rect 204 463 217 497
rect 251 463 261 497
rect 204 414 261 463
rect 204 380 217 414
rect 251 380 261 414
rect 204 368 261 380
<< ndiffc >>
rect 42 168 76 202
rect 42 86 76 120
rect 206 168 240 202
rect 206 86 240 120
<< pdiffc >>
rect 37 546 71 580
rect 37 463 71 497
rect 37 380 71 414
rect 127 546 161 580
rect 127 463 161 497
rect 127 380 161 414
rect 217 546 251 580
rect 217 463 251 497
rect 217 380 251 414
<< poly >>
rect 84 592 114 618
rect 174 592 204 618
rect 84 353 114 368
rect 174 353 204 368
rect 81 310 117 353
rect 171 310 207 353
rect 21 294 117 310
rect 21 260 37 294
rect 71 260 117 294
rect 21 244 117 260
rect 87 222 117 244
rect 165 294 267 310
rect 165 260 217 294
rect 251 260 267 294
rect 165 244 267 260
rect 165 222 195 244
rect 87 48 117 74
rect 165 48 195 74
<< polycont >>
rect 37 260 71 294
rect 217 260 251 294
<< locali >>
rect 0 649 31 683
rect 65 649 127 683
rect 161 649 223 683
rect 257 649 288 683
rect 21 580 87 649
rect 21 546 37 580
rect 71 546 87 580
rect 21 497 87 546
rect 21 463 37 497
rect 71 463 87 497
rect 21 414 87 463
rect 21 380 37 414
rect 71 380 87 414
rect 21 364 87 380
rect 121 580 167 596
rect 121 546 127 580
rect 161 546 167 580
rect 121 497 167 546
rect 121 463 127 497
rect 161 463 167 497
rect 121 414 167 463
rect 121 380 127 414
rect 161 380 167 414
rect 21 294 87 310
rect 21 260 37 294
rect 71 260 87 294
rect 21 236 87 260
rect 121 236 167 380
rect 201 580 267 649
rect 201 546 217 580
rect 251 546 267 580
rect 201 497 267 546
rect 201 463 217 497
rect 251 463 267 497
rect 201 414 267 463
rect 201 380 217 414
rect 251 380 267 414
rect 201 364 267 380
rect 201 294 267 310
rect 201 260 217 294
rect 251 260 267 294
rect 201 236 267 260
rect 133 202 167 236
rect 26 168 42 202
rect 76 168 92 202
rect 133 168 206 202
rect 240 168 256 202
rect 26 120 92 168
rect 26 86 42 120
rect 76 86 92 120
rect 26 17 92 86
rect 190 120 256 168
rect 190 86 206 120
rect 240 86 256 120
rect 190 70 256 86
rect 0 -17 31 17
rect 65 -17 127 17
rect 161 -17 223 17
rect 257 -17 288 17
<< viali >>
rect 31 649 65 683
rect 127 649 161 683
rect 223 649 257 683
rect 31 -17 65 17
rect 127 -17 161 17
rect 223 -17 257 17
<< metal1 >>
rect 0 683 288 715
rect 0 649 31 683
rect 65 649 127 683
rect 161 649 223 683
rect 257 649 288 683
rect 0 617 288 649
rect 0 17 288 49
rect 0 -17 31 17
rect 65 -17 127 17
rect 161 -17 223 17
rect 257 -17 288 17
rect 0 -49 288 -17
<< labels >>
rlabel comment s 0 0 0 0 4 nand2_1
flabel pwell s 0 0 288 49 0 FreeSans 200 0 0 0 VNB
port 1 nsew
flabel nwell s 0 617 288 666 0 FreeSans 200 0 0 0 VPB
port 2 nsew
flabel metal1 s 0 617 288 666 0 FreeSans 340 0 0 0 VPWR
port 3 nsew
flabel metal1 s 0 0 288 49 0 FreeSans 340 0 0 0 VGND
port 4 nsew
flabel locali s 31 242 65 276 0 FreeSans 340 0 0 0 B
port 6 nsew
flabel locali s 127 242 161 276 0 FreeSans 340 0 0 0 Y
port 7 nsew
flabel locali s 127 316 161 350 0 FreeSans 340 0 0 0 Y
port 7 nsew
flabel locali s 127 390 161 424 0 FreeSans 340 0 0 0 Y
port 7 nsew
flabel locali s 127 464 161 498 0 FreeSans 340 0 0 0 Y
port 7 nsew
flabel locali s 127 538 161 572 0 FreeSans 340 0 0 0 Y
port 7 nsew
flabel locali s 223 242 257 276 0 FreeSans 340 0 0 0 A
port 8 nsew
<< properties >>
string FIXED_BBOX 0 0 288 666
<< end >>

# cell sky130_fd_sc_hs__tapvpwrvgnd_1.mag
magic
tech sky130A
magscale 1 2
<< nwell >>
rect -38 332 134 704
<< pwell >>
rect 5 38 91 255
<< psubdiff >>
rect 31 205 65 229
rect 31 122 65 171
rect 31 64 65 88
<< nsubdiff >>
rect 31 578 65 602
rect 31 492 65 544
rect 31 434 65 458
<< psubdiffcont >>
rect 31 171 65 205
rect 31 88 65 122
<< nsubdiffcont >>
rect 31 544 65 578
rect 31 458 65 492
<< locali >>
rect 0 649 31 683
rect 65 649 96 683
rect 18 578 78 649
rect 18 544 31 578
rect 65 544 78 578
rect 18 492 78 544
rect 18 458 31 492
rect 65 458 78 492
rect 18 441 78 458
rect 18 205 78 221
rect 18 171 31 205
rect 65 171 78 205
rect 18 122 78 171
rect 18 88 31 122
rect 65 88 78 122
rect 18 17 78 88
rect 0 -17 31 17
rect 65 -17 96 17
<< viali >>
rect 31 649 65 683
rect 31 -17 65 17
<< metal1 >>
rect 0 683 96 715
rect 0 649 31 683
rect 65 649 96 683
rect 0 617 96 649
rect 0 17 96 49
rect 0 -17 31 17
rect 65 -17 96 17
rect 0 -49 96 -17
<< labels >>
rlabel comment s 0 0 0 0 4 tapvpwrvgnd_1
flabel metal1 s 0 617 96 666 0 FreeSans 200 0 0 0 VPWR
port 1 nsew
flabel metal1 s 0 0 96 49 0 FreeSans 200 0 0 0 VGND
port 2 nsew
<< properties >>
string FIXED_BBOX 0 0 96 666
<< end >>
